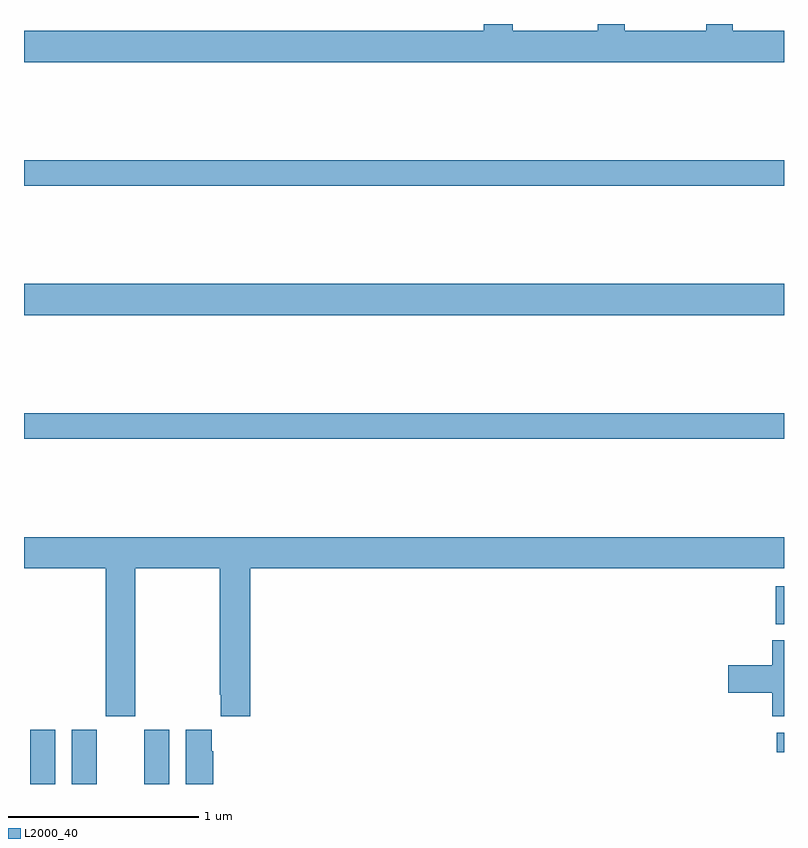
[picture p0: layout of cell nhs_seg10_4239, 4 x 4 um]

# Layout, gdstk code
import gdstk
lib = gdstk.Library(unit=1e-6, precision=1e-09)
def R(c, l, rs):  # rectangles x0, y0, x1, y1
    for r in rs: c.add(gdstk.rectangle(r[:2], r[2:], *l))
def P(c, l, *ps):  # polygons
    for p in ps: c.add(gdstk.Polygon(p, *l))
L2000_40 = (2000, 40)

nhs_seg10_4239 = lib.new_cell('nhs_seg10_4239')
R(nhs_seg10_4239, L2000_40, [(347.033,1312.5,347.164,1312.786), (347.252,1312.5,347.383,1312.786), (347.633,1312.5,347.764,1312.786), (350.961,1312.667,351,1312.771), (350.957,1313.342,351,1313.541), (347,1314.316,351,1314.452), (347,1314.968,351,1315.132), (347,1315.648,351,1315.784)])
P(nhs_seg10_4239, L2000_40, [(351,1316.464),(350.731,1316.464),(350.731,1316.5),(350.591,1316.5),(350.591,1316.464),(350.161,1316.464),(350.161,1316.5),(350.021,1316.5),(350.021,1316.464),(349.573,1316.464),(349.573,1316.5),(349.421,1316.5),(349.421,1316.464),(347,1316.464),(347,1316.3),(351,1316.3)],
  [(347.586,1313.636),(348.031,1313.636),(348.031,1312.969),(348.035,1312.969),(348.035,1312.857),(348.191,1312.857),(348.191,1313.636),(351,1313.636),(351,1313.8),(347,1313.8),(347,1313.636),(347.431,1313.636),(347.431,1312.857),(347.586,1312.857)],
  [(351,1313.257),(350.939,1313.257),(350.939,1313.126),(350.706,1313.126),(350.706,1312.979),(350.939,1312.979),(350.939,1312.856),(351,1312.856)],
  [(347.996,1312.673),(347.989,1312.673),(347.989,1312.786),(347.852,1312.786),(347.852,1312.5),(347.996,1312.5)])

lib.write_gds('nhs_seg10_4239.gds')
